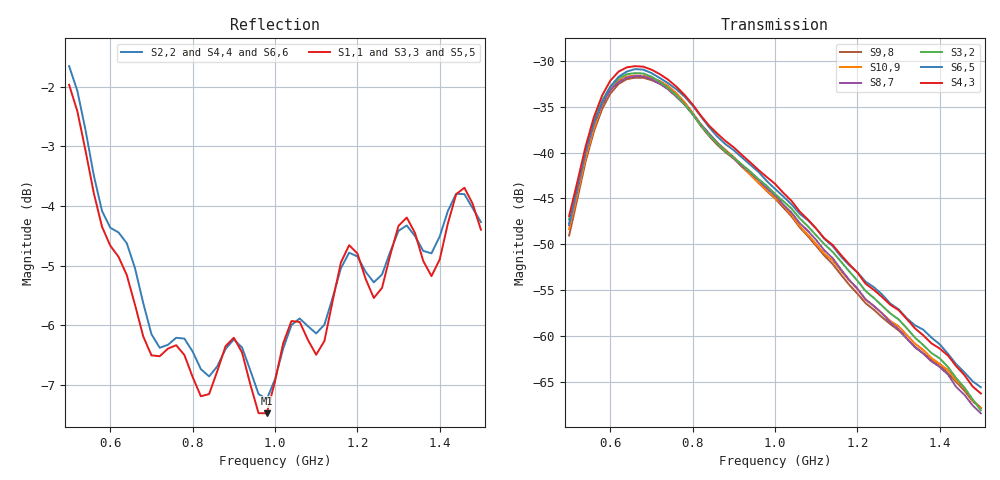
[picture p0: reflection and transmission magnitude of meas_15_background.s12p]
! Converted from meas_15_background.mat
! MATLAB 5.0 MAT-file, Platform: PCWIN64, Created on: Sat Nov 21 15:26:32 2026
! Ports 1-12 = antennas 1-12; IFBW=1000 Hz, power=0 dBm, doCalibration flag=1
! SW_A serial 12410080206: antennas 1 3 5 7 9 11
! SW_B serial 12410080235: antennas 2 4 6 8 10 12
! WARNING: Sij (i!=j) between two odd or two even ports was NOT MEASURED (NaN in source).
! Those entries are written as 0 0 placeholders. Do not treat them as data.
! Reference impedance 50 ohm is assumed (not stored in source).
# Hz S RI R 50
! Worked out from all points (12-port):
!   51 points, 500 MHz to 1.5 GHz, reference 50 ohm
!   strongest paths, dB at 500 MHz, 740 MHz, 1 GHz, 1.26 GHz, 1.5 GHz:
!     S4,3: -46.9, -32.0, -43.4, -55.7, -66.3
!     S6,5: -47.7, -32.4, -44.0, -55.5, -65.6
!     S3,2: -47.3, -32.9, -44.5, -56.7, -68.1
!     S8,7: -47.9, -33.1, -44.7, -57.5, -68.4
!     S10,9: -48.4, -32.7, -44.9, -57.5, -67.8
!     S9,8: -49.1, -33.0, -45.0, -58.0, -67.8
!   lowest |S11| = -7.5 dB at 980 MHz (marker M1), VSWR 2.47, Z = 26.9 - j25.3 ohm
!   |S11| at or under -10 dB: nowhere
